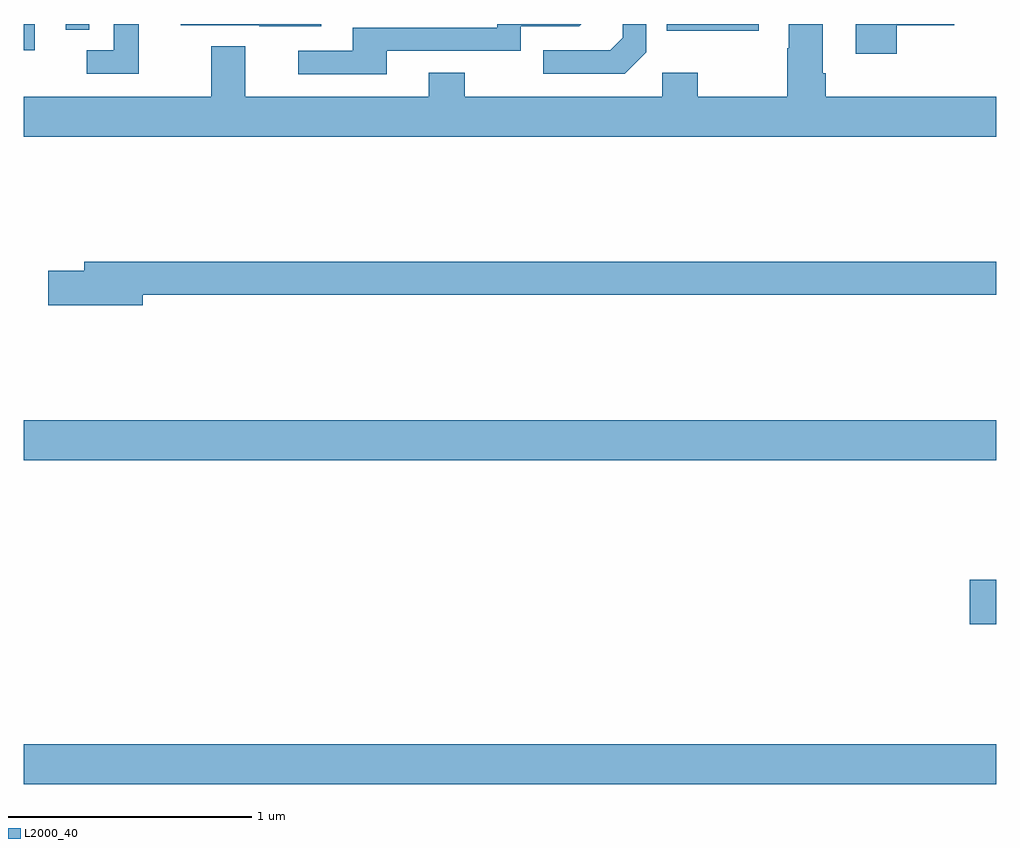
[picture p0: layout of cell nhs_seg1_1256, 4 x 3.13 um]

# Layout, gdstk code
import gdstk
lib = gdstk.Library(unit=1e-6, precision=1e-09)
def R(c, l, rs):  # rectangles x0, y0, x1, y1
    for r in rs: c.add(gdstk.rectangle(r[:2], r[2:], *l))
def P(c, l, *ps):  # polygons
    for p in ps: c.add(gdstk.Polygon(p, *l))
L2000_40 = (2000, 40)

nhs_seg1_1256 = lib.new_cell('nhs_seg1_1256')
R(nhs_seg1_1256, L2000_40, [(179,545.072,183,545.236), (182.892,545.729,183,545.912), (179,546.404,183,546.568), (179,548.09,179.044,548.199), (181.645,548.171,182.023,548.199), (179.172,548.176,179.268,548.199)])
P(nhs_seg1_1256, L2000_40, [(183,547.9),(182.3,547.9),(182.3,547.996),(182.287,547.996),(182.287,548.199),(182.147,548.199),(182.147,548.099),(182.14,548.099),(182.14,547.9),(181.773,547.9),(181.773,547.999),(181.626,547.999),(181.626,547.9),(180.813,547.9),(180.813,547.999),(180.665,547.999),(180.665,547.9),(179.911,547.9),(179.911,548.108),(179.771,548.108),(179.771,547.9),(179,547.9),(179,547.736),(183,547.736)],
  [(180.493,548.088),(181.044,548.088),(181.044,548.19),(181.284,548.19),(181.293,548.199),(180.948,548.199),(180.948,548.184),(180.353,548.184),(180.353,548.088),(180.129,548.088),(180.129,547.992),(180.493,547.992)],
  [(179.473,548.199),(179.369,548.199),(179.369,548.091),(179.259,548.091),(179.259,547.995),(179.473,547.995)],
  [(180.223,548.199),(179.645,548.199),(179.645,548.193),(179.969,548.193),(179.969,548.189),(180.223,548.189)],
  [(182.591,548.194),(182.827,548.194),(182.827,548.199),(182.423,548.199),(182.423,548.076),(182.591,548.076)],
  [(181.56,548.082),(181.56,548.199),(181.464,548.199),(181.464,548.142),(181.413,548.091),(181.137,548.091),(181.137,547.995),(181.473,547.995)],
  [(179.488,547.084),(183,547.084),(183,547.22),(179.249,547.22),(179.249,547.184),(179.1,547.184),(179.1,547.042),(179.488,547.042)])

lib.write_gds('nhs_seg1_1256.gds')
